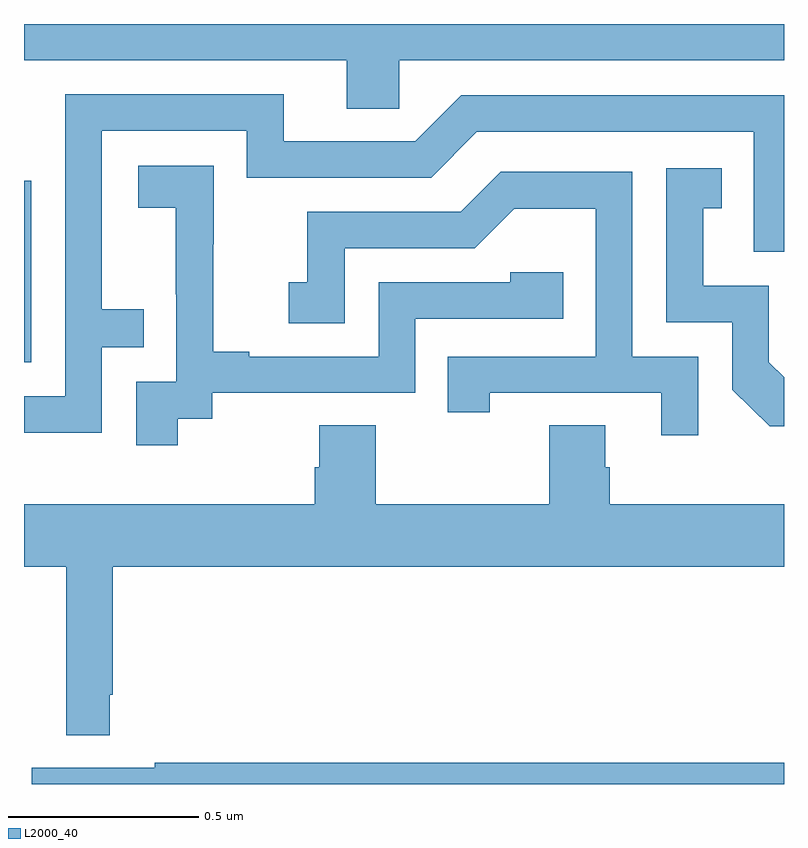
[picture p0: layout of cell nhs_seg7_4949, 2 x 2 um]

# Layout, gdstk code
import gdstk
lib = gdstk.Library(unit=1e-6, precision=1e-09)
def R(c, l, rs):  # rectangles x0, y0, x1, y1
    for r in rs: c.add(gdstk.rectangle(r[:2], r[2:], *l))
def P(c, l, *ps):  # polygons
    for p in ps: c.add(gdstk.Polygon(p, *l))
L2000_40 = (2000, 40)

nhs_seg7_4949 = lib.new_cell('nhs_seg7_4949')
R(nhs_seg7_4949, L2000_40, [(179,1045.11,179.019,1045.587)])
P(nhs_seg7_4949, L2000_40, [(181,1046),(179,1046),(179,1045.904),(179.849,1045.904),(179.849,1045.777),(179.988,1045.777),(179.988,1045.904),(181,1045.904)],
  [(179.205,1045.149),(179.315,1045.149),(179.315,1045.25),(179.205,1045.25),(179.205,1045.719),(179.586,1045.719),(179.586,1045.596),(180.072,1045.596),(180.192,1045.716),(180.921,1045.716),(180.921,1045.401),(181,1045.401),(181,1045.812),(180.15,1045.812),(180.03,1045.692),(179.683,1045.692),(179.683,1045.815),(179.109,1045.815),(179.109,1045.02),(179,1045.02),(179,1044.924),(179.205,1044.924)],
  [(179.404,1044.961),(179.496,1044.961),(179.496,1045.029),(180.03,1045.029),(180.03,1045.224),(180.419,1045.224),(180.419,1045.347),(180.279,1045.347),(180.279,1045.32),(179.934,1045.32),(179.934,1045.125),(179.593,1045.125),(179.593,1045.138),(179.498,1045.138),(179.498,1045.421),(179.499,1045.421),(179.499,1045.627),(179.301,1045.627),(179.301,1045.517),(179.399,1045.517),(179.399,1045.289),(179.4,1045.289),(179.4,1045.059),(179.295,1045.059),(179.295,1044.891),(179.404,1044.891)],
  [(181,1045.07),(180.96,1045.11),(180.96,1045.311),(180.787,1045.311),(180.787,1045.515),(180.836,1045.515),(180.836,1045.621),(180.69,1045.621),(180.69,1045.215),(180.864,1045.215),(180.864,1045.038),(180.962,1044.941),(181,1044.941)],
  [(180.774,1045.125),(180.6,1045.125),(180.6,1045.611),(180.254,1045.611),(180.149,1045.506),(179.746,1045.506),(179.746,1045.321),(179.697,1045.321),(179.697,1045.212),(179.844,1045.212),(179.844,1045.41),(180.186,1045.41),(180.29,1045.514),(180.504,1045.514),(180.504,1045.125),(180.115,1045.125),(180.115,1044.978),(180.226,1044.978),(180.226,1045.029),(180.677,1045.029),(180.677,1044.918),(180.774,1044.918)],
  [(179.226,1044.235),(179.233,1044.235),(179.233,1044.572),(181,1044.572),(181,1044.736),(180.542,1044.736),(180.542,1044.834),(180.529,1044.834),(180.529,1044.944),(180.382,1044.944),(180.382,1044.736),(179.925,1044.736),(179.925,1044.944),(179.777,1044.944),(179.777,1044.834),(179.765,1044.834),(179.765,1044.736),(179,1044.736),(179,1044.572),(179.111,1044.572),(179.111,1044.128),(179.226,1044.128)],
  [(181,1044.056),(179.344,1044.056),(179.344,1044.043),(179.021,1044.043),(179.021,1044),(181,1044)])

lib.write_gds('nhs_seg7_4949.gds')
